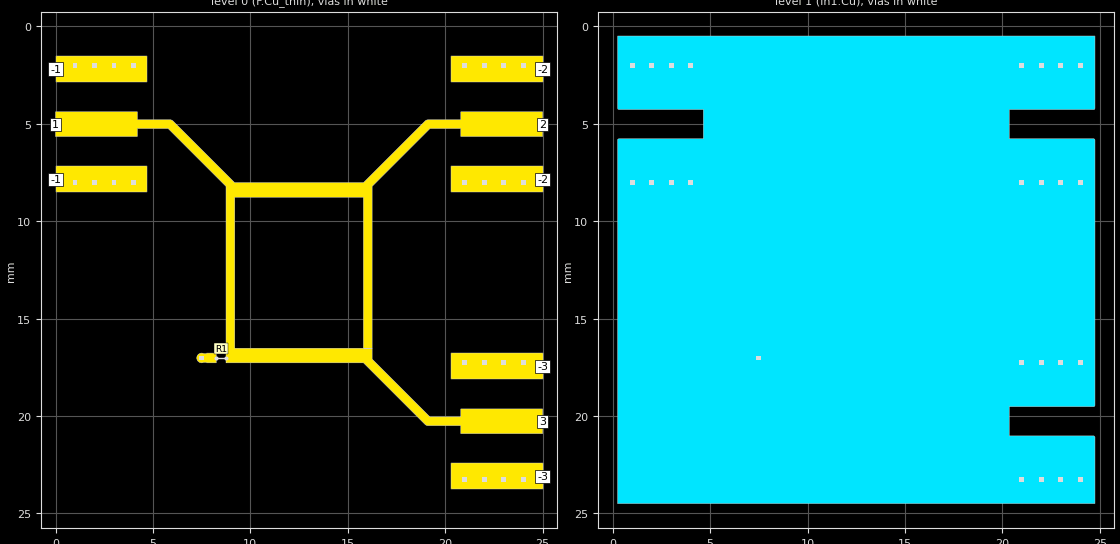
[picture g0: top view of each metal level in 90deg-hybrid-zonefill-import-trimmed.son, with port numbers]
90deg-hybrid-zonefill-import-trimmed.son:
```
FTYP SONPROJ 19 ! Sonnet Project File
VER 18.56
HEADER
LIC antikernel2.1.51813
DAT 11/29/2022 17:23:25
BUILT_BY_CREATED xgeom 18.56 11/27/2022 18:54:38
BUILT_BY_SAVED sonnet 18.56
MDATE 11/29/2022 12:43:09
HDATE 11/29/2022 12:43:09
ANN Created by dxfgeo, Sonnet Software Inc.
END HEADER
DIM
ANG DEG
CAP PF
CON /OH
FREQ GHZ
IND NH
LNG MM
RES OH
END DIM
CONTROL
VARSWP
OPTIONS  -dj
SPEED 1
CACHE_ABS 2
Q_ACC N
END CONTROL
GEO
STF ../../sonnet-techfiles/oshpark/4l/oshpark-4l-nosoldermask.stf
DRP1 LEFT NONE 3
DRP1 RIGHT NONE 3
TMET "Free Space" 0 FREESPACE 376.7303136 0 0 0
BMET "Free Space" 0 FREESPACE 376.7303136 0 0 0
BOX 0 25 25 2000 2000 20 0
TECHLAY METAL F.Cu_thin <UNSPECIFIED> -2 -65534 CAD F.Cu_thin drawing 
0 0 1 N 137 1 1 100 100 0 0 0 Y
END
END
DIM STD XDIR 1
POS 5.579124757 -1.255545262
NOM 6.6
REF1 POLY 176 1
8
REF2 POLY 176 1
9
END
DIM STD XDIR 1
POS 8.00902594 -1.138491442
NOM 7.5
REF1 POLY 176 1
49
REF2 POLY 176 1
12
END
DIM STD YDIR 1
POS 1.615974766 6.974117699
NOM 9.25
REF1 POLY 176 1
30
REF2 POLY 176 1
51
END
DIM STD YDIR 1
POS 0.8490206458 6.404107111
NOM 7.75
REF1 POLY 176 1
9
REF2 POLY 176 1
6
END
DIM STD XDIR -1
POS -0.04553996824 1.368947415
NOM 0.45
REF1 POLY 176 1
7
REF2 POLY 176 1
50
END
DIM STD YDIR 1
POS -0.9539291287 0.4052889188
NOM 0.75
REF1 POLY 176 1
31
REF2 POLY 176 1
8
END
LORGN 0 25 U 
POR1 BOX
POLY 6 1
2
-3 50 0 0 0 25 23.1 
POR1 BOX
POLY 13 1
0
-1 50 0 0 0 -3.469446952e-16 2.2 
POR1 BOX
POLY 14 1
2
-2 50 0 0 0 25 2.2 
POR1 BOX
POLY 9 1
0
-1 50 0 0 0 -3.469446952e-16 7.85 
POR1 BOX
POLY 10 1
2
-2 50 0 0 0 25 7.85 
POR1 BOX
POLY 8 1
2
-3 50 0 0 0 25 17.45 
POR1 BOX
POLY 176 1
44
1 50 0 0 0 0 5.025 
POR1 BOX
POLY 176 1
16
2 50 0 0 0 25 5.025 
POR1 BOX
POLY 176 1
64
3 50 0 0 0 25 20.275 
SMD 0 "R1"
ID 92
GNDREF AUTO
DRP1 LEFT NONE 2
DRP1 RIGHT NONE 2
SBOX 8.39375 8.58125 17.15625 17.34375
PBSHW N
LPOS 8.4875 17.15625
TYPE SPARAM 1
SMDP 0 8.25 17.025 L 4 1 
EXSMDP
GNDREF AUTO
TERMW FEED
END EXSMDP
SMDP 0 8.75 17.025 R 5 2 
EXSMDP
GNDREF AUTO
TERMW CUST 0.5
END EXSMDP
END
NUM 34
0 5 1 N 6 1 1 100 100 0 0 0 Y
TLAYNAM F.Cu_thin INH
USER_DAT FromImport
20.3 23.775
20.3 22.425
25 22.425
25 23.775
20.3 23.775
END
0 5 1 N 13 1 1 100 100 0 0 0 Y
TLAYNAM F.Cu_thin INH
USER_DAT FromImport
-3.469446952e-16 2.875
-3.469446952e-16 1.525
4.7 1.525
4.7 2.875
-3.469446952e-16 2.875
END
0 5 1 N 14 1 1 100 100 0 0 0 Y
TLAYNAM F.Cu_thin INH
USER_DAT FromImport
20.3 2.875
20.3 1.525
25 1.525
25 2.875
20.3 2.875
END
0 5 1 N 9 1 1 100 100 0 0 0 Y
TLAYNAM F.Cu_thin INH
USER_DAT FromImport
-3.469446952e-16 8.525
-3.469446952e-16 7.175
4.7 7.175
4.7 8.525
-3.469446952e-16 8.525
END
0 5 1 N 10 1 1 100 100 0 0 0 Y
TLAYNAM F.Cu_thin INH
USER_DAT FromImport
20.3 8.525
20.3 7.175
25 7.175
25 8.525
20.3 8.525
END
0 5 1 N 8 1 1 100 100 0 0 0 Y
TLAYNAM F.Cu_thin INH
USER_DAT FromImport
20.3 18.125
20.3 16.775
25 16.775
25 18.125
20.3 18.125
END
VIA POLYGON
0 5 -1 N 35 1 1 100 100 0 0 0 Y
TOLEVEL 3 RING NOCOVERS
TLAYNAM Via1 INH
USER_DAT FromImport
23.875 23.4
23.875 23.15
24.125 23.15
24.125 23.4
23.875 23.4
END
VIA POLYGON
0 5 -1 N 32 1 1 100 100 0 0 0 Y
TOLEVEL 3 RING NOCOVERS
TLAYNAM Via1 INH
USER_DAT FromImport
20.875 23.4
20.875 23.15
21.125 23.15
21.125 23.4
20.875 23.4
END
VIA POLYGON
0 5 -1 N 33 1 1 100 100 0 0 0 Y
TOLEVEL 3 RING NOCOVERS
TLAYNAM Via1 INH
USER_DAT FromImport
21.875 23.4
21.875 23.15
22.125 23.15
22.125 23.4
21.875 23.4
END
VIA POLYGON
0 5 -1 N 53 1 1 100 100 0 0 0 Y
TOLEVEL 3 RING NOCOVERS
TLAYNAM Via1 INH
USER_DAT FromImport
20.875 2.15
20.875 1.9
21.125 1.9
21.125 2.15
20.875 2.15
END
VIA POLYGON
0 5 -1 N 42 1 1 100 100 0 0 0 Y
TOLEVEL 3 RING NOCOVERS
TLAYNAM Via1 INH
USER_DAT FromImport
1.875 8.15
1.875 7.9
2.125 7.9
2.125 8.15
1.875 8.15
END
VIA POLYGON
0 5 -1 N 38 1 1 100 100 0 0 0 Y
TOLEVEL 3 RING NOCOVERS
TLAYNAM Via1 INH
USER_DAT FromImport
21.875 17.4
21.875 17.15
22.125 17.15
22.125 17.4
21.875 17.4
END
VIA POLYGON
0 5 -1 N 47 1 1 100 100 0 0 0 Y
TOLEVEL 3 RING NOCOVERS
TLAYNAM Via1 INH
USER_DAT FromImport
22.875 8.15
22.875 7.9
23.125 7.9
23.125 8.15
22.875 8.15
END
VIA POLYGON
0 5 -1 N 54 1 1 100 100 0 0 0 Y
TOLEVEL 3 RING NOCOVERS
TLAYNAM Via1 INH
USER_DAT FromImport
21.875 2.15
21.875 1.9
22.125 1.9
22.125 2.15
21.875 2.15
END
VIA POLYGON
0 5 -1 N 50 1 1 100 100 0 0 0 Y
TOLEVEL 3 RING NOCOVERS
TLAYNAM Via1 INH
USER_DAT FromImport
1.875 2.15
1.875 1.9
2.125 1.9
2.125 2.15
1.875 2.15
END
VIA POLYGON
0 5 -1 N 34 1 1 100 100 0 0 0 Y
TOLEVEL 3 RING NOCOVERS
TLAYNAM Via1 INH
USER_DAT FromImport
22.875 23.4
22.875 23.15
23.125 23.15
23.125 23.4
22.875 23.4
END
VIA POLYGON
0 5 -1 N 48 1 1 100 100 0 0 0 Y
TOLEVEL 3 RING NOCOVERS
TLAYNAM Via1 INH
USER_DAT FromImport
23.875 8.15
23.875 7.9
24.125 7.9
24.125 8.15
23.875 8.15
END
VIA POLYGON
0 5 -1 N 52 1 1 100 100 0 0 0 Y
TOLEVEL 3 RING NOCOVERS
TLAYNAM Via1 INH
USER_DAT FromImport
3.875 2.15
3.875 1.9
4.125 1.9
4.125 2.15
3.875 2.15
END
VIA POLYGON
0 5 -1 N 45 1 1 100 100 0 0 0 Y
TOLEVEL 3 RING NOCOVERS
TLAYNAM Via1 INH
USER_DAT FromImport
20.875 8.15
20.875 7.9
21.125 7.9
21.125 8.15
20.875 8.15
END
VIA POLYGON
0 5 -1 N 39 1 1 100 100 0 0 0 Y
TOLEVEL 3 RING NOCOVERS
TLAYNAM Via1 INH
USER_DAT FromImport
22.875 17.4
22.875 17.15
23.125 17.15
23.125 17.4
22.875 17.4
END
VIA POLYGON
0 5 -1 N 51 1 1 100 100 0 0 0 Y
TOLEVEL 3 RING NOCOVERS
TLAYNAM Via1 INH
USER_DAT FromImport
2.875 2.15
2.875 1.9
3.125 1.9
3.125 2.15
2.875 2.15
END
VIA POLYGON
0 5 -1 N 44 1 1 100 100 0 0 0 Y
TOLEVEL 3 RING NOCOVERS
TLAYNAM Via1 INH
USER_DAT FromImport
3.875 8.15
3.875 7.9
4.125 7.9
4.125 8.15
3.875 8.15
END
VIA POLYGON
0 5 -1 N 49 1 1 100 100 0 0 0 Y
TOLEVEL 3 RING NOCOVERS
TLAYNAM Via1 INH
USER_DAT FromImport
0.875 2.15
0.875 1.9
1.125 1.9
1.125 2.15
0.875 2.15
END
VIA POLYGON
0 5 -1 N 37 1 1 100 100 0 0 0 Y
TOLEVEL 3 RING NOCOVERS
TLAYNAM Via1 INH
USER_DAT FromImport
20.875 17.4
20.875 17.15
21.125 17.15
21.125 17.4
20.875 17.4
END
VIA POLYGON
0 5 -1 N 55 1 1 100 100 0 0 0 Y
TOLEVEL 3 RING NOCOVERS
TLAYNAM Via1 INH
USER_DAT FromImport
22.875 2.15
22.875 1.9
23.125 1.9
23.125 2.15
22.875 2.15
END
VIA POLYGON
0 5 -1 N 46 1 1 100 100 0 0 0 Y
TOLEVEL 3 RING NOCOVERS
TLAYNAM Via1 INH
USER_DAT FromImport
21.875 8.15
21.875 7.9
22.125 7.9
22.125 8.15
21.875 8.15
END
VIA POLYGON
0 5 -1 N 43 1 1 100 100 0 0 0 Y
TOLEVEL 3 RING NOCOVERS
TLAYNAM Via1 INH
USER_DAT FromImport
2.875 8.15
2.875 7.9
3.125 7.9
3.125 8.15
2.875 8.15
END
VIA POLYGON
0 5 -1 N 56 1 1 100 100 0 0 0 Y
TOLEVEL 3 RING NOCOVERS
TLAYNAM Via1 INH
USER_DAT FromImport
23.875 2.15
23.875 1.9
24.125 1.9
24.125 2.15
23.875 2.15
END
VIA POLYGON
0 5 -1 N 41 1 1 100 100 0 0 0 Y
TOLEVEL 3 RING NOCOVERS
TLAYNAM Via1 INH
USER_DAT FromImport
0.875 8.15
0.875 7.9
1.125 7.9
1.125 8.15
0.875 8.15
END
VIA POLYGON
0 5 -1 N 40 1 1 100 100 0 0 0 Y
TOLEVEL 3 RING NOCOVERS
TLAYNAM Via1 INH
USER_DAT FromImport
23.875 17.4
23.875 17.15
24.125 17.15
24.125 17.4
23.875 17.4
END
0 66 1 N 176 1 1 100 100 0 0 0 Y
USER_DAT FromImport
25 19.64
20.8 19.64
20.8 20.05
19.218 20.05
16.25 17.082
16.25 16.525
15.8 16.525
9.2 16.525
9.2 8.775
15.8 8.775
15.8 16.525
16.25 16.525
16.25 8.218
19.218 5.25
20.8 5.25
20.8 5.66
25 5.66
25 4.39
20.8 4.39
20.8 4.8
19.114 4.8
19.092 4.802
19.07 4.806
19.049 4.813
19.029 4.821
19.009 4.832
18.991 4.844
18.974 4.858
15.833 7.999
15.819 8.016
15.813 8.025
9.187 8.025
9.181 8.016
9.167 7.999
6.026 4.858
6.009 4.844
5.991 4.832
5.971 4.821
5.951 4.813
5.93 4.806
5.908 4.802
5.886 4.8
4.2 4.8
4.2 4.39
0 4.39
0 5.66
4.2 5.66
4.2 5.25
5.782 5.25
8.75 8.218
8.75 17.275
15.813 17.275
15.819 17.284
15.833 17.301
18.974 20.442
18.991 20.456
19.009 20.468
19.029 20.479
19.049 20.487
19.07 20.494
19.092 20.498
19.114 20.5
20.8 20.5
20.8 20.91
25 20.91
25 19.64
END
VIA POLYGON
0 5 -1 N 177 1 1 100 100 0 0 0 Y
TOLEVEL 3 RING NOCOVERS
USER_DAT FromImport
7.375 17.15
7.375 16.9
7.625 16.9
7.625 17.15
7.375 17.15
END
0 51 1 N 178 1 1 100 100 0 0 0 Y
USER_DAT FromImport
7.488 17.275
7.463 17.272
7.439 17.268
7.416 17.26
7.393 17.251
7.371 17.239
7.351 17.226
7.332 17.21
7.315 17.193
7.299 17.174
7.286 17.154
7.274 17.132
7.265 17.109
7.257 17.086
7.253 17.062
7.25 17.037
7.25 17.013
7.253 16.988
7.257 16.964
7.265 16.941
7.274 16.918
7.286 16.896
7.299 16.876
7.315 16.857
7.332 16.84
7.351 16.824
7.371 16.811
7.393 16.799
7.416 16.79
7.439 16.782
7.463 16.778
7.488 16.775
7.512 16.775
7.537 16.778
7.561 16.782
7.584 16.79
7.607 16.799
7.609 16.8
7.75 16.8
7.75 16.775
8.25 16.775
8.25 17.275
7.75 17.275
7.75 17.25
7.609 17.25
7.607 17.251
7.584 17.26
7.561 17.268
7.537 17.272
7.512 17.275
7.488 17.275
END
1 29 2 N 132 1 1 100 100 0 0 0 Y
TLAYNAM In1.Cu INH
USER_DAT FromImport
24.75 21.087
24.732 21.043
24.689 21.025
20.35 21.025
20.35 19.525
24.689 19.525
24.732 19.507
24.75 19.464
24.75 5.837
24.732 5.793
24.689 5.775
20.35 5.775
20.35 4.275
24.689 4.275
24.732 4.257
24.75 4.214
24.75 0.5
0.25 0.5
0.25 4.214
0.268 4.257
0.312 4.275
4.65 4.275
4.65 5.775
0.312 5.775
0.268 5.793
0.25 5.837
0.25 24.5
24.75 24.5
24.75 21.087
END
END GEO
OPT
MAX 100
END OPT
VARSWP
ENABLED Y
FREQ Y AN STEP 5.05
FREQ Y AY ABS_ENTRY 0.1 8.5 -1 300 
END
END VARSWP
SMDFILES
1 "../../../../../../bulk/datasheets/Vishay/Resistors/FC/0402/FC0402-FlipChip-50 Ohm.s2p"
END SMDFILES
```
